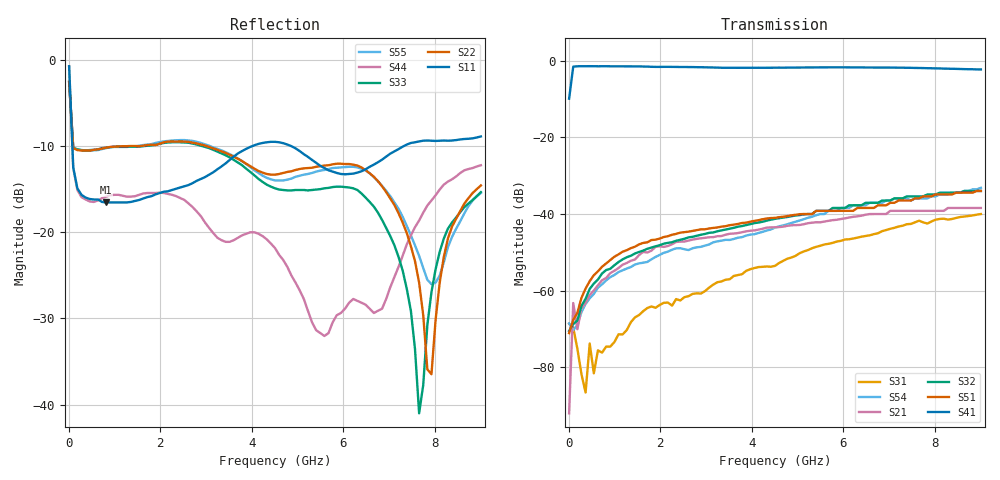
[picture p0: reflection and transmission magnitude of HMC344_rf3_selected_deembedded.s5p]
!Hittite Microwave Corporation
!12 Elizabeth Drive
!Chelmsford, MA 01824
!Tel: 978-250-3343
!Fax: 978-250-3373
!Device: HMC344, DC-8 GHz GaAs MMIC SP4T Non-Reflective Switch Die
!Misc: Room Temp Vctl=-5V Port1=RFC, Port2=RF1, Port3=RF2, Port4=RF3, Port5=RF4, RF3 ON.
# MHZ S MA R 50
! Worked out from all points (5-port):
!   101 points, 10 MHz to 9 GHz, reference 50 ohm
!   strongest paths, dB at 10 MHz, 2.257 GHz, 4.505 GHz, 6.753 GHz, 9 GHz:
!     S41: -9.9, -1.6, -1.8, -1.8, -2.3
!     S51: -71.1, -45.4, -41.0, -37.7, -34.0
!     S32: -70.5, -47.3, -41.3, -37.1, -34.0
!     S21: -92.0, -47.9, -43.5, -40.0, -38.4
!     S54: -68.5, -49.3, -43.5, -37.1, -33.2
!     S31: -68.6, -63.9, -53.5, -45.0, -40.0
!   lowest |S11| = -16.5 dB at 819.1 MHz (marker M1), VSWR 1.35, Z = 63 - j10.8 ohm
!   |S11| at or under -10 dB: 81 MHz to 4.007 GHz (3.926 GHz wide, 192 % of centre); 4.862 GHz to 7.314 GHz (2.453 GHz wide, 40.3 % of centre)
